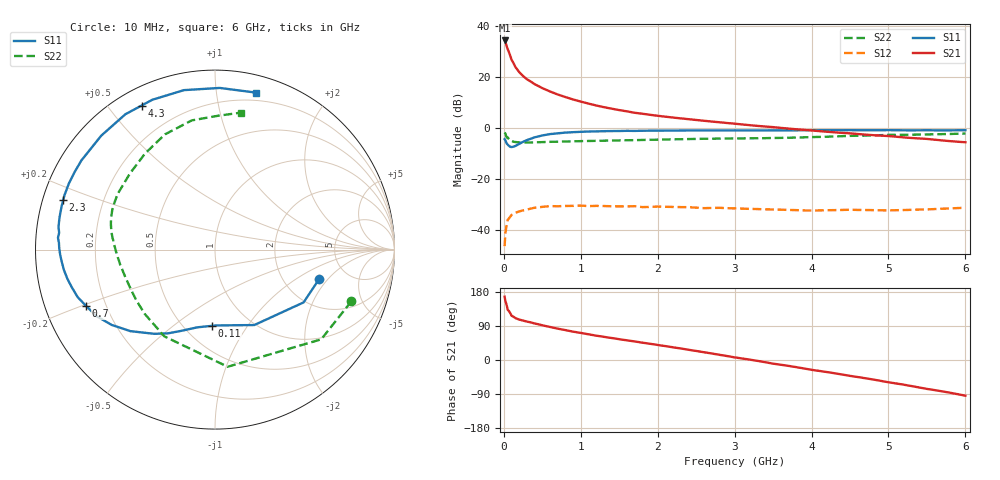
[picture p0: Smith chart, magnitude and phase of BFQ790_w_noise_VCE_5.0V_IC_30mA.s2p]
! Infineon Technologies  Discrete & RF Semiconductors
! BFQ790
! VCE =  5.0 V,  IC =  30 mA
! Common Emitter S-Parameters:  May 2015
# GHz  S  MA  R  50
!  f  S11  S21  S12  S22
! GHz  MAG  ANG  MAG  ANG  MAG  ANG  MAG  ANG
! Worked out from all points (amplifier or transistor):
!   77 points, 10 MHz to 6 GHz, reference 50 ohm
!   highest |S21| = 34.2 dB at 10 MHz (marker M1)
!   |S21| within 3 dB of that: start of sweep to 45.47 MHz
!   unconditionally stable (mu >= 1): 1.681 GHz to end of sweep
!   at 130 MHz: K = 0.73, MSG = 29.3 dB, |S12| = -33.5 dB
!   at 2.2 GHz: K = 1.09, MAG = 15.6 dB, |S12| = -30.9 dB
!   at 6 GHz: K = 2.04, MAG = 7.0 dB, |S12| = -31.2 dB
!   lowest NFmin = 2.11 dB at 900 MHz
!   S11 on the Smith chart (normalised r, x): 10 MHz: 3.11, -1.62; 110 MHz: 0.68, -0.70; 700 MHz: 0.13, -0.21; 2.3 GHz: 0.06, +0.16; 4.3 GHz: 0.07, +0.61; 6 GHz: 0.13, +1.29
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0.01  0.6024 -16.0  51.09 167.2  0.0049 50.7  0.8126 -20.8
0.02  0.5746 -30.8  47.81 155.7  0.0088 51.5  0.7746 -40.2
0.05  0.4739 -62.5  34.56 132.6  0.016 38.5  0.6565 -83.8
0.1  0.4226 -89.3  21.46 116.7  0.0199 25.3  0.5597 -120.3
0.11  0.4249 -92.1  20.25 115.8  0.0203 24.4  0.5501 -123.6
0.15  0.444 -102.8  15.5 110.6  0.022 21.3  0.5307 -137.4
0.2  0.487 -112.0  12.3 106.7  0.0234 20.9  0.5216 -147.1
0.25  0.5351 -119.3  10.33 104.0  0.0245 18.4  0.5185 -153.3
0.3  0.5778 -125.7  8.929 101.4  0.0255 15.0  0.5186 -157.7
0.4  0.6551 -136.1  7.166 96.4  0.0276 11.2  0.5232 -163.6
0.5  0.7124 -143.9  5.986 91.6  0.0287 7.2  0.5282 -167.6
0.7  0.784 -156.4  4.497 82.8  0.0295 2.6  0.5385 -173.4
0.9  0.8259 -165.5  3.593 74.8  0.03 -3.9  0.5471 -177.2
1.1  0.8495 -172.4  2.985 67.8  0.0297 -7.9  0.5556 179.5
1.5  0.8703 177.5  2.229 54.9  0.0293 -15.0  0.5695 174.7
2.1  0.8858 166.1  1.658 36.7  0.0288 -24.4  0.5935 167.4
2.3  0.8894 162.0  1.536 30.4  0.0284 -27.5  0.6017 164.3
3.1  0.8925 144.0  1.168 4.0  0.0265 -38.6  0.6248 147.9
4.1  0.9019 121.3  0.866 -28.8  0.0245 -45.6  0.667 123.5
4.3  0.9008 117.0  0.82 -35.0  0.0248 -46.6  0.6808 118.4
5.1  0.9008 98.5  0.673 -61.9  0.0247 -53.6  0.7319 97.8
6  0.904 75.3  0.525 -94.2  0.0276 -63.8  0.7761 79.3
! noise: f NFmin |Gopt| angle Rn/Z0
0.45  2.49  0.31  99  0.34
0.9  2.11  0.46  151  0.14
1.5  2.31  0.64  179  0.07
1.8  2.6  0.67  -174  0.07
2.6  3.46  0.74  -156  0.2
3.5  4.21  0.87  -138  0.62
